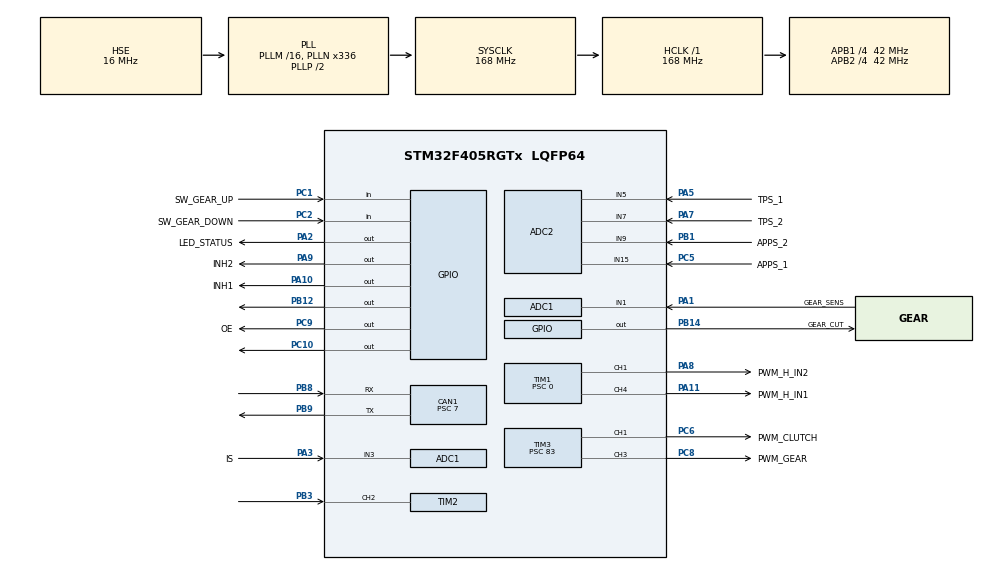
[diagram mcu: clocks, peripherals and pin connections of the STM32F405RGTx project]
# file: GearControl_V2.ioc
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ADC1.Channel-1\#ChannelRegularConversion=ADC_CHANNEL_1
ADC1.Channel-3\#ChannelRegularConversion=ADC_CHANNEL_3
ADC1.ClockPrescaler=ADC_CLOCK_SYNC_PCLK_DIV8
ADC1.ContinuousConvMode=ENABLE
ADC1.DMAContinuousRequests=ENABLE
ADC1.EnableAnalogWatchDog=false
ADC1.NbrOfConversion=2
ADC1.NbrOfConversionFlag=1
ADC1.Rank-3\#ChannelRegularConversion=2
ADC1.SamplingTime-1\#ChannelRegularConversion=ADC_SAMPLETIME_480CYCLES
ADC1.SamplingTime-3\#ChannelRegularConversion=ADC_SAMPLETIME_480CYCLES
ADC1.ScanConvMode=ENABLE
ADC1.master=1
ADC2.Channel-0\#ChannelRegularConversion=ADC_CHANNEL_5
ADC2.Channel-2\#ChannelRegularConversion=ADC_CHANNEL_7
ADC2.Channel-3\#ChannelRegularConversion=ADC_CHANNEL_9
ADC2.Channel-4\#ChannelRegularConversion=ADC_CHANNEL_15
ADC2.ClockPrescaler=ADC_CLOCK_SYNC_PCLK_DIV8
ADC2.ContinuousConvMode=ENABLE
ADC2.DMAContinuousRequests=ENABLE
ADC2.EnableAnalogWatchDog=false
ADC2.NbrOfConversion=4
ADC2.NbrOfConversionFlag=1
ADC2.Rank-0\#ChannelRegularConversion=1
ADC2.Rank-2\#ChannelRegularConversion=2
ADC2.Rank-3\#ChannelRegularConversion=3
ADC2.Rank-4\#ChannelRegularConversion=4
ADC2.SamplingTime-0\#ChannelRegularConversion=ADC_SAMPLETIME_480CYCLES
ADC2.SamplingTime-2\#ChannelRegularConversion=ADC_SAMPLETIME_480CYCLES
ADC2.SamplingTime-3\#ChannelRegularConversion=ADC_SAMPLETIME_480CYCLES
ADC2.SamplingTime-4\#ChannelRegularConversion=ADC_SAMPLETIME_480CYCLES
ADC2.ScanConvMode=ENABLE
CAN1.BS1=CAN_BS1_4TQ
CAN1.CalculateBaudRate=999999
CAN1.CalculateTimeBit=1000
CAN1.CalculateTimeQuantum=166.66666666666669
CAN1.Prescaler=7
CAN1.SJW=CAN_SJW_1TQ
Dma.ADC1.1.Direction=DMA_PERIPH_TO_MEMORY
Dma.ADC1.1.FIFOMode=DMA_FIFOMODE_DISABLE
Dma.ADC1.1.Instance=DMA2_Stream4
Dma.ADC1.1.MemDataAlignment=DMA_MDATAALIGN_HALFWORD
Dma.ADC1.1.MemInc=DMA_MINC_ENABLE
Dma.ADC1.1.Mode=DMA_CIRCULAR
Dma.ADC1.1.PeriphDataAlignment=DMA_PDATAALIGN_HALFWORD
Dma.ADC1.1.PeriphInc=DMA_PINC_DISABLE
Dma.ADC1.1.Priority=DMA_PRIORITY_VERY_HIGH
Dma.ADC2.0.Direction=DMA_PERIPH_TO_MEMORY
Dma.ADC2.0.FIFOMode=DMA_FIFOMODE_DISABLE
Dma.ADC2.0.Instance=DMA2_Stream2
Dma.ADC2.0.MemDataAlignment=DMA_MDATAALIGN_HALFWORD
Dma.ADC2.0.MemInc=DMA_MINC_ENABLE
Dma.ADC2.0.Mode=DMA_CIRCULAR
Dma.ADC2.0.PeriphDataAlignment=DMA_PDATAALIGN_HALFWORD
Dma.ADC2.0.PeriphInc=DMA_PINC_DISABLE
Dma.ADC2.0.Priority=DMA_PRIORITY_HIGH
Dma.Request0=ADC2
Dma.Request1=ADC1
IWDG.Prescaler=IWDG_PRESCALER_8
IWDG.Reload=11
Mcu.Family=STM32F4
Mcu.Name=STM32F405RGTx
Mcu.Package=LQFP64
NVIC.CAN1_RX0_IRQn=true\:0\:0\:false\:false\:true\:true\:true\:true
NVIC.DMA2_Stream2_IRQn=true\:0\:0\:false\:false\:true\:false\:true\:true
NVIC.DMA2_Stream4_IRQn=true\:0\:0\:false\:false\:true\:false\:true\:true
NVIC.PriorityGroup=NVIC_PRIORITYGROUP_4
PA1.GPIO_Label=GEAR_SENS
PA1.GPIO_Mode=GPIO_MODE_ANALOG
PA1.GPIO_PuPd=GPIO_NOPULL
PA1.Signal=ADCx_IN1
PA10.GPIO_Label=INH1
PA10.Signal=GPIO_Output
PA11.GPIO_Label=PWM_H_IN1
PA11.Signal=S_TIM1_CH4
PA13.Mode=Serial_Wire
PA13.Signal=SYS_JTMS-SWDIO
PA14.Mode=Serial_Wire
PA14.Signal=SYS_JTCK-SWCLK
PA2.GPIO_Label=LED_STATUS
PA2.Signal=GPIO_Output
PA3.GPIO_Label=IS
PA3.GPIO_Mode=GPIO_MODE_ANALOG
PA3.GPIO_PuPd=GPIO_NOPULL
PA3.Signal=ADCx_IN3
PA5.GPIO_Label=TPS_1
PA5.Signal=ADCx_IN5
PA7.GPIO_Label=TPS_2
PA7.Signal=ADCx_IN7
PA8.GPIO_Label=PWM_H_IN2
PA8.Signal=S_TIM1_CH1
PA9.GPIO_Label=INH2
PA9.Signal=GPIO_Output
PB1.GPIO_Label=APPS_2
PB1.Signal=ADCx_IN9
PB12.Signal=GPIO_Output
PB14.GPIO_Label=GEAR_CUT
PB14.PinState=GPIO_PIN_SET
PB14.Signal=GPIO_Output
PB3.Signal=S_TIM2_CH2
PB8.Mode=CAN_Activate
PB8.Signal=CAN1_RX
PB9.Mode=CAN_Activate
PB9.Signal=CAN1_TX
PC1.GPIO_Label=SW_GEAR_UP
PC1.Signal=GPIO_Input
PC10.PinState=GPIO_PIN_SET
PC10.Signal=GPIO_Output
PC2.GPIO_Label=SW_GEAR_DOWN
PC2.Signal=GPIO_Input
PC5.GPIO_Label=APPS_1
PC5.Signal=ADCx_IN15
PC6.GPIO_Label=PWM_CLUTCH
PC6.Signal=S_TIM3_CH1
PC8.GPIO_Label=PWM_GEAR
PC8.Signal=S_TIM3_CH3
PC9.GPIO_Label=OE
PC9.Signal=GPIO_Output
PH0-OSC_IN.Mode=HSE-External-Oscillator
PH0-OSC_IN.Signal=RCC_OSC_IN
PH1-OSC_OUT.Mode=HSE-External-Oscillator
PH1-OSC_OUT.Signal=RCC_OSC_OUT
ProjectManager.HeapSize=0x200
ProjectManager.StackSize=0x400
ProjectManager.TargetToolchain=STM32CubeIDE
RCC.48MHZClocksFreq_Value=48000000
RCC.AHBFreq_Value=168000000
RCC.APB1CLKDivider=RCC_HCLK_DIV4
RCC.APB1Freq_Value=42000000
RCC.APB1TimFreq_Value=84000000
RCC.APB2CLKDivider=RCC_HCLK_DIV4
RCC.APB2Freq_Value=42000000
RCC.APB2TimFreq_Value=84000000
RCC.CortexFreq_Value=168000000
RCC.HCLKFreq_Value=168000000
RCC.HSE_VALUE=16000000
RCC.HSI_VALUE=16000000
RCC.LSE_VALUE=32768
RCC.PLLN=336
RCC.PLLQ=7
RCC.PLLSourceVirtual=RCC_PLLSOURCE_HSE
RCC.SYSCLKFreq_VALUE=168000000
RCC.SYSCLKSource=RCC_SYSCLKSOURCE_PLLCLK
RCC.VCOOutputFreq_Value=336000000
SH.ADCx_IN1.0=ADC1_IN1,IN1
SH.ADCx_IN15.0=ADC2_IN15,IN15
SH.ADCx_IN3.0=ADC1_IN3,IN3
SH.ADCx_IN5.0=ADC2_IN5,IN5
SH.ADCx_IN7.0=ADC2_IN7,IN7
SH.ADCx_IN9.0=ADC2_IN9,IN9
SH.S_TIM1_CH1.0=TIM1_CH1,PWM Generation1 CH1
SH.S_TIM1_CH4.0=TIM1_CH4,PWM Generation4 CH4
SH.S_TIM2_CH2.0=TIM2_CH2,Input_Capture2_from_TI2
SH.S_TIM3_CH1.0=TIM3_CH1,PWM Generation1 CH1
SH.S_TIM3_CH3.0=TIM3_CH3,PWM Generation3 CH3
TIM1.Channel-PWM\ Generation1\ CH1=TIM_CHANNEL_1
TIM1.Channel-PWM\ Generation4\ CH4=TIM_CHANNEL_4
TIM1.OCFastMode_PWM-PWM\ Generation1\ CH1=TIM_OCFAST_DISABLE
TIM1.OCFastMode_PWM-PWM\ Generation4\ CH4=TIM_OCFAST_DISABLE
TIM1.Period=4639
TIM1.Prescaler=0
TIM2.AutoReloadPreload=TIM_AUTORELOAD_PRELOAD_DISABLE
TIM2.Channel-Input_Capture2_from_TI2=TIM_CHANNEL_2
TIM2.Period=167
TIM3.Channel-PWM\ Generation1\ CH1=TIM_CHANNEL_1
TIM3.Channel-PWM\ Generation3\ CH3=TIM_CHANNEL_3
TIM3.OCFastMode_PWM-PWM\ Generation1\ CH1=TIM_OCFAST_DISABLE
TIM3.OCFastMode_PWM-PWM\ Generation3\ CH3=TIM_OCFAST_DISABLE
TIM3.Period=19999
TIM3.Prescaler=83
VP_IWDG_VS_IWDG.Mode=IWDG_Activate
board=custom

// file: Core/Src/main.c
/* USER CODE BEGIN Header */
/**
  ******************************************************************************
  * @file           : main.c
  * @brief          : Main program body
  ******************************************************************************
  * @attention
  *
  * <h2><center>&copy; Copyright (c) 2021 STMicroelectronics.
  * All rights reserved.</center></h2>
  *
  * This software component is licensed by ST under Ultimate Liberty license
  * SLA0044, the "License"; You may not use this file except in compliance with
  * the License. You may obtain a copy of the License at:
  *                             www.st.com/SLA0044
  *
  ******************************************************************************
  */
/* USER CODE END Header */
#include "main.h"

/* USER CODE BEGIN Includes */

#include "stm32f4xx_it.h"
#include "DefineConfig.h"

/* Application */
#include "DBW.h"
#include "GearControl.h"
#include "GearControlCAN.h"
#include "ClutchControl.h"
#include "ShiftRevMatch.h"
#include "GearSensor.h"
#include "Servo.h"
/* Middleware */
#include "MicroSwitch.h"
/* Platform Low */
#include "Watchdog.h"
#include "Adc.h"
#include "CAN.h"
#include "LED.h"
#include "Scheduler.h"
#include "SwTimer.h"
/* USER CODE END Includes */

/* USER CODE BEGIN PM */
typedef union {
	uint64_t errTotal;
	struct {
		uint64_t adcInitErr : 1;        // ADC module init failure
		uint64_t irqInitErr : 1;        // IRQ (Interrupts) module init failure
		uint64_t dbwInitErr : 1;        // DBW module init failure
		uint64_t schedulerInitErr : 1;  // Scheduler module init failure
		uint64_t canInitErr : 1;        // CAN Bus init failure
		uint64_t gearSensInitErr : 1;   // Gear Sensor init failure
		uint64_t gearCtrlInitErr : 1;   // Gear Control init failure
		uint64_t clutchCtrlInitErr : 1; // Clutch Control init failure
		uint64_t halErr : 1;            // HAL generic error
	};
} ErrorFlags;

static ErrorFlags errorFlags = {
	.errTotal = 0U
};

/* USER CODE END PM */

ADC_HandleTypeDef hadc1;
ADC_HandleTypeDef hadc2;
DMA_HandleTypeDef hdma_adc1;
DMA_HandleTypeDef hdma_adc2;

CAN_HandleTypeDef hcan1;

IWDG_HandleTypeDef hiwdg;

TIM_HandleTypeDef htim1;
TIM_HandleTypeDef htim2;
TIM_HandleTypeDef htim3;

void SystemClock_Config(void);
static void MX_GPIO_Init(void);
static void MX_DMA_Init(void);
static void MX_CAN1_Init(void);
static void MX_TIM1_Init(void);
static void MX_ADC1_Init(void);
static void MX_TIM3_Init(void);
static void MX_ADC2_Init(void);
static void MX_TIM2_Init(void);
static void MX_IWDG_Init(void);

/* USER CODE BEGIN 0 */
static void PeriodicTask_1ms(void)
{
	/* Drive-By-Wire process */
	DBW_Process();
	/* MicroSwitch process */
	MicroSwitch_Process();
	/* Clutch Control process */
	ClutchControl_Process();
	/* Gear Sensor reading process */
	GearSensor_Process();
	/* Gear Control process */
	GearControl_Process();
	/* Shift rev matching process */
	ShiftRevMatch_Process();
	/* Tick SW Timer */
	SwTimerTick1ms();
}

static void PeriodicTask_10ms(void)
{
	/* Software Timers Process */
	SwTimerExecute();
	/* Gear Control CAN process */
	GearControlCAN_Process();
	/* CAN Bus Tx Callback */
	CAN_TxCallback();
}

static void PeriodicTask_500ms(void)
{
	/* LED Process */
	LED_Process();
}

/* Scheduler Tasks Configuration */
static SchedulerType schedule[N_PROCESS] = {
	{
		/* 1ms task */
		.handler = PeriodicTask_1ms,
		.period = 1U
	},
	{
		/* 10ms task */
		.handler = PeriodicTask_10ms,
		.period = 10U
	},
	{
		/* 500ms task */
		.handler = PeriodicTask_500ms,
		.period = 500U
	}
};

/* USER CODE END 0 */

int main(void)
{

  /* MCU Configuration--------------------------------------------------------*/

  /* Reset of all peripherals, Initializes the Flash interface and the Systick. */

HAL_Init();

  /* Configure the system clock */
  SystemClock_Config();

  /* Initialize all configured peripherals */
  MX_GPIO_Init();
  MX_DMA_Init();
  MX_CAN1_Init();
  MX_TIM1_Init();
  MX_ADC1_Init();
  MX_TIM3_Init();
  MX_ADC2_Init();
  MX_TIM2_Init();
  MX_IWDG_Init();
  /* USER CODE BEGIN 2 */

  /* Enable watchdog first - no return */
  Watchdog_Init(&hiwdg);

  /* Indicate reset with LED blinking */
  LED_indicateResetWithDelay(INDICATE_RESET_MS);
/* -------------------------------------------- */
  if (!errorFlags.halErr) {
	  /* Initialize CAN Bus */
	  if (CAN_Init(&hcan1) != ERROR_OK) {
		  errorFlags.canInitErr = TRUE;
	  }

	  /* Initialize ADC 1 */
	  if (ADC_Init(&hadc1, ADC_1_HANDLE, ADC_1_CHANNELS_COUNT) != ERROR_OK) {
		  errorFlags.adcInitErr = TRUE;
	  }

	  /* Initialize ADC 2 */
	  if (ADC_Init(&hadc2, ADC_2_HANDLE, ADC_2_CHANNELS_COUNT) != ERROR_OK) {
		  errorFlags.adcInitErr = TRUE;
	  }

	  /* Initialize Interrupts */
	  if (IRQ_Init() != ERROR_OK) {
		  errorFlags.irqInitErr = TRUE;
	  }

	  /* Initialize Gear Sensor module */
	  if (GearSensor_Init() != ERROR_OK) {
		  errorFlags.gearSensInitErr = TRUE;
	  }

	  /* Initialize Gear Control module */
	  if (GearControl_Init(&htim3) != ERROR_OK) {
		  errorFlags.gearCtrlInitErr = TRUE;
	  }

	  /* Initialize Drive-By-Wire */
	  if (DBW_Init() != ERROR_OK) {
		  errorFlags.dbwInitErr = TRUE;
	  }

	  /* Initialize Clutch Control module */
	  if (ClutchControl_Init(&htim3) != ERROR_OK) {
		  errorFlags.clutchCtrlInitErr = TRUE;
	  }

	  if (errorFlags.errTotal == ERROR_OK) {
		  /* Initialize Scheduler */
		  if (SchedulerInit(schedule, &htim2) == ERROR_OK) {
			  /* Run scheduler */
			  SchedulerRun();
		  } else {
			  errorFlags.schedulerInitErr = TRUE;
		  }
	  }
  }

  /* Should never reach here */
  /* USER CODE END 2 */

  /* Infinite loop */
  while (1)
  {

  }
}

void SystemClock_Config(void)
{
  RCC_OscInitTypeDef RCC_OscInitStruct = {0};
  RCC_ClkInitTypeDef RCC_ClkInitStruct = {0};

  /** Configure the main internal regulator output voltage
  */
  __HAL_RCC_PWR_CLK_ENABLE();
  __HAL_PWR_VOLTAGESCALING_CONFIG(PWR_REGULATOR_VOLTAGE_SCALE1);

  /** Initializes the RCC Oscillators according to the specified parameters
  * in the RCC_OscInitTypeDef structure.
  */
  RCC_OscInitStruct.OscillatorType = RCC_OSCILLATORTYPE_LSI|RCC_OSCILLATORTYPE_HSE;
  RCC_OscInitStruct.HSEState = RCC_HSE_ON;
  RCC_OscInitStruct.LSIState = RCC_LSI_ON;
  RCC_OscInitStruct.PLL.PLLState = RCC_PLL_ON;
  RCC_OscInitStruct.PLL.PLLSource = RCC_PLLSOURCE_HSE;
  RCC_OscInitStruct.PLL.PLLM = 16;
  RCC_OscInitStruct.PLL.PLLN = 336;
  RCC_OscInitStruct.PLL.PLLP = RCC_PLLP_DIV2;
  RCC_OscInitStruct.PLL.PLLQ = 7;
  if (HAL_RCC_OscConfig(&RCC_OscInitStruct) != HAL_OK)
  {
    Error_Handler();
  }

  /** Initializes the CPU, AHB and APB buses clocks
  */
  RCC_ClkInitStruct.ClockType = RCC_CLOCKTYPE_HCLK|RCC_CLOCKTYPE_SYSCLK
                              |RCC_CLOCKTYPE_PCLK1|RCC_CLOCKTYPE_PCLK2;
  RCC_ClkInitStruct.SYSCLKSource = RCC_SYSCLKSOURCE_PLLCLK;
  RCC_ClkInitStruct.AHBCLKDivider = RCC_SYSCLK_DIV1;
  RCC_ClkInitStruct.APB1CLKDivider = RCC_HCLK_DIV4;
  RCC_ClkInitStruct.APB2CLKDivider = RCC_HCLK_DIV4;

  if (HAL_RCC_ClockConfig(&RCC_ClkInitStruct, FLASH_LATENCY_5) != HAL_OK)
  {
    Error_Handler();
  }
}

static void MX_ADC1_Init(void)
{

  ADC_ChannelConfTypeDef sConfig = {0};

  /** Configure the global features of the ADC (Clock, Resolution, Data Alignment and number of conversion)
  */
  hadc1.Instance = ADC1;
  hadc1.Init.ClockPrescaler = ADC_CLOCK_SYNC_PCLK_DIV8;
  hadc1.Init.Resolution = ADC_RESOLUTION_12B;
  hadc1.Init.ScanConvMode = ENABLE;
  hadc1.Init.ContinuousConvMode = ENABLE;
  hadc1.Init.DiscontinuousConvMode = DISABLE;
  hadc1.Init.ExternalTrigConvEdge = ADC_EXTERNALTRIGCONVEDGE_NONE;
  hadc1.Init.ExternalTrigConv = ADC_SOFTWARE_START;
  hadc1.Init.DataAlign = ADC_DATAALIGN_RIGHT;
  hadc1.Init.NbrOfConversion = 2;
  hadc1.Init.DMAContinuousRequests = ENABLE;
  hadc1.Init.EOCSelection = ADC_EOC_SINGLE_CONV;
  if (HAL_ADC_Init(&hadc1) != HAL_OK)
  {
    Error_Handler();
  }

  /** Configure for the selected ADC regular channel its corresponding rank in the sequencer and its sample time.
  */
  sConfig.Channel = ADC_CHANNEL_1;
  sConfig.Rank = 1;
  sConfig.SamplingTime = ADC_SAMPLETIME_480CYCLES;
  if (HAL_ADC_ConfigChannel(&hadc1, &sConfig) != HAL_OK)
  {
    Error_Handler();
  }

  /** Configure for the selected ADC regular channel its corresponding rank in the sequencer and its sample time.
  */
  sConfig.Channel = ADC_CHANNEL_3;
  sConfig.Rank = 2;
  if (HAL_ADC_ConfigChannel(&hadc1, &sConfig) != HAL_OK)
  {
    Error_Handler();
  }

}

static void MX_ADC2_Init(void)
{

  ADC_ChannelConfTypeDef sConfig = {0};

  /** Configure the global features of the ADC (Clock, Resolution, Data Alignment and number of conversion)
  */
  hadc2.Instance = ADC2;
  hadc2.Init.ClockPrescaler = ADC_CLOCK_SYNC_PCLK_DIV8;
  hadc2.Init.Resolution = ADC_RESOLUTION_12B;
  hadc2.Init.ScanConvMode = ENABLE;
  hadc2.Init.ContinuousConvMode = ENABLE;
  hadc2.Init.DiscontinuousConvMode = DISABLE;
  hadc2.Init.ExternalTrigConvEdge = ADC_EXTERNALTRIGCONVEDGE_NONE;
  hadc2.Init.ExternalTrigConv = ADC_SOFTWARE_START;
  hadc2.Init.DataAlign = ADC_DATAALIGN_RIGHT;
  hadc2.Init.NbrOfConversion = 4;
  hadc2.Init.DMAContinuousRequests = ENABLE;
  hadc2.Init.EOCSelection = ADC_EOC_SINGLE_CONV;
  if (HAL_ADC_Init(&hadc2) != HAL_OK)
  {
    Error_Handler();
  }

  /** Configure for the selected ADC regular channel its corresponding rank in the sequencer and its sample time.
  */
  sConfig.Channel = ADC_CHANNEL_5;
  sConfig.Rank = 1;
  sConfig.SamplingTime = ADC_SAMPLETIME_480CYCLES;
  if (HAL_ADC_ConfigChannel(&hadc2, &sConfig) != HAL_OK)
  {
    Error_Handler();
  }

  /** Configure for the selected ADC regular channel its corresponding rank in the sequencer and its sample time.
  */
  sConfig.Channel = ADC_CHANNEL_7;
  sConfig.Rank = 2;
  if (HAL_ADC_ConfigChannel(&hadc2, &sConfig) != HAL_OK)
  {
    Error_Handler();
  }

  /** Configure for the selected ADC regular channel its corresponding rank in the sequencer and its sample time.
  */
  sConfig.Channel = ADC_CHANNEL_9;
  sConfig.Rank = 3;
  if (HAL_ADC_ConfigChannel(&hadc2, &sConfig) != HAL_OK)
  {
    Error_Handler();
  }

  /** Configure for the selected ADC regular channel its corresponding rank in the sequencer and its sample time.
  */
  sConfig.Channel = ADC_CHANNEL_15;
  sConfig.Rank = 4;
  if (HAL_ADC_ConfigChannel(&hadc2, &sConfig) != HAL_OK)
  {
    Error_Handler();
  }

}

static void MX_CAN1_Init(void)
{

  hcan1.Instance = CAN1;
  hcan1.Init.Prescaler = 7;
  hcan1.Init.Mode = CAN_MODE_NORMAL;
  hcan1.Init.SyncJumpWidth = CAN_SJW_1TQ;
  hcan1.Init.TimeSeg1 = CAN_BS1_4TQ;
  hcan1.Init.TimeSeg2 = CAN_BS2_1TQ;
  hcan1.Init.TimeTriggeredMode = DISABLE;
  hcan1.Init.AutoBusOff = DISABLE;
  hcan1.Init.AutoWakeUp = DISABLE;
  hcan1.Init.AutoRetransmission = DISABLE;
  hcan1.Init.ReceiveFifoLocked = DISABLE;
  hcan1.Init.TransmitFifoPriority = DISABLE;
  if (HAL_CAN_Init(&hcan1) != HAL_OK)
  {
    Error_Handler();
  }

}

static void MX_IWDG_Init(void)
{

  /* USER CODE BEGIN IWDG_Init 0 */
#if CONFIG_ENABLE_SCHEDULER_WATCHDOG
  /* USER CODE END IWDG_Init 0 */

  hiwdg.Instance = IWDG;
  hiwdg.Init.Prescaler = IWDG_PRESCALER_8;
  hiwdg.Init.Reload = 11;
  if (HAL_IWDG_Init(&hiwdg) != HAL_OK)
  {
    Error_Handler();
  }
  /* USER CODE BEGIN IWDG_Init 2 */
#endif // CONFIG_ENABLE_SCHEDULER_WATCHDOG
  /* USER CODE END IWDG_Init 2 */

}

static void MX_TIM1_Init(void)
{

  TIM_MasterConfigTypeDef sMasterConfig = {0};
  TIM_OC_InitTypeDef sConfigOC = {0};
  TIM_BreakDeadTimeConfigTypeDef sBreakDeadTimeConfig = {0};

  htim1.Instance = TIM1;
  htim1.Init.Prescaler = 0;
  htim1.Init.CounterMode = TIM_COUNTERMODE_UP;
  htim1.Init.Period = 4639;
  htim1.Init.ClockDivision = TIM_CLOCKDIVISION_DIV1;
  htim1.Init.RepetitionCounter = 0;
  htim1.Init.AutoReloadPreload = TIM_AUTORELOAD_PRELOAD_DISABLE;
  if (HAL_TIM_PWM_Init(&htim1) != HAL_OK)
  {
    Error_Handler();
  }
  sMasterConfig.MasterOutputTrigger = TIM_TRGO_RESET;
  sMasterConfig.MasterSlaveMode = TIM_MASTERSLAVEMODE_DISABLE;
  if (HAL_TIMEx_MasterConfigSynchronization(&htim1, &sMasterConfig) != HAL_OK)
  {
    Error_Handler();
  }
  sConfigOC.OCMode = TIM_OCMODE_PWM1;
  sConfigOC.Pulse = 0;
  sConfigOC.OCPolarity = TIM_OCPOLARITY_HIGH;
  sConfigOC.OCNPolarity = TIM_OCNPOLARITY_HIGH;
  sConfigOC.OCFastMode = TIM_OCFAST_DISABLE;
  sConfigOC.OCIdleState = TIM_OCIDLESTATE_RESET;
  sConfigOC.OCNIdleState = TIM_OCNIDLESTATE_RESET;
  if (HAL_TIM_PWM_ConfigChannel(&htim1, &sConfigOC, TIM_CHANNEL_1) != HAL_OK)
  {
    Error_Handler();
  }
  if (HAL_TIM_PWM_ConfigChannel(&htim1, &sConfigOC, TIM_CHANNEL_4) != HAL_OK)
  {
    Error_Handler();
  }
  sBreakDeadTimeConfig.OffStateRunMode = TIM_OSSR_DISABLE;
  sBreakDeadTimeConfig.OffStateIDLEMode = TIM_OSSI_DISABLE;
  sBreakDeadTimeConfig.LockLevel = TIM_LOCKLEVEL_OFF;
  sBreakDeadTimeConfig.DeadTime = 0;
  sBreakDeadTimeConfig.BreakState = TIM_BREAK_DISABLE;
  sBreakDeadTimeConfig.BreakPolarity = TIM_BREAKPOLARITY_HIGH;
  sBreakDeadTimeConfig.AutomaticOutput = TIM_AUTOMATICOUTPUT_DISABLE;
  if (HAL_TIMEx_ConfigBreakDeadTime(&htim1, &sBreakDeadTimeConfig) != HAL_OK)
  {
    Error_Handler();
  }
  HAL_TIM_MspPostInit(&htim1);

}

static void MX_TIM2_Init(void)
{

  TIM_MasterConfigTypeDef sMasterConfig = {0};
  TIM_IC_InitTypeDef sConfigIC = {0};

  /* USER CODE BEGIN TIM2_Init 1 */
  // Timer used for scheduler frame measurement
  // prescaler - 84Mhz / 840 = 100 000 Hz
  // period - measure ticks in 1ms - 100 000 Hz / 1000 Hz = 100 ticks per ms
  /* USER CODE END TIM2_Init 1 */
  htim2.Instance = TIM2;
  htim2.Init.Prescaler = 0;
  htim2.Init.CounterMode = TIM_COUNTERMODE_UP;
  htim2.Init.Period = 167;
  htim2.Init.ClockDivision = TIM_CLOCKDIVISION_DIV1;
  htim2.Init.AutoReloadPreload = TIM_AUTORELOAD_PRELOAD_DISABLE;
  if (HAL_TIM_IC_Init(&htim2) != HAL_OK)
  {
    Error_Handler();
  }
  sMasterConfig.MasterOutputTrigger = TIM_TRGO_RESET;
  sMasterConfig.MasterSlaveMode = TIM_MASTERSLAVEMODE_DISABLE;
  if (HAL_TIMEx_MasterConfigSynchronization(&htim2, &sMasterConfig) != HAL_OK)
  {
    Error_Handler();
  }
  sConfigIC.ICPolarity = TIM_INPUTCHANNELPOLARITY_RISING;
  sConfigIC.ICSelection = TIM_ICSELECTION_DIRECTTI;
  sConfigIC.ICPrescaler = TIM_ICPSC_DIV1;
  sConfigIC.ICFilter = 0;
  if (HAL_TIM_IC_ConfigChannel(&htim2, &sConfigIC, TIM_CHANNEL_2) != HAL_OK)
  {
    Error_Handler();
  }

}

static void MX_TIM3_Init(void)
{

  TIM_MasterConfigTypeDef sMasterConfig = {0};
  TIM_OC_InitTypeDef sConfigOC = {0};

  htim3.Instance = TIM3;
  htim3.Init.Prescaler = 83;
  htim3.Init.CounterMode = TIM_COUNTERMODE_UP;
  htim3.Init.Period = 19999;
  htim3.Init.ClockDivision = TIM_CLOCKDIVISION_DIV1;
  htim3.Init.AutoReloadPreload = TIM_AUTORELOAD_PRELOAD_DISABLE;
  if (HAL_TIM_PWM_Init(&htim3) != HAL_OK)
  {
    Error_Handler();
  }
  sMasterConfig.MasterOutputTrigger = TIM_TRGO_RESET;
  sMasterConfig.MasterSlaveMode = TIM_MASTERSLAVEMODE_DISABLE;
  if (HAL_TIMEx_MasterConfigSynchronization(&htim3, &sMasterConfig) != HAL_OK)
  {
    Error_Handler();
  }
  sConfigOC.OCMode = TIM_OCMODE_PWM1;
  sConfigOC.Pulse = 0;
  sConfigOC.OCPolarity = TIM_OCPOLARITY_HIGH;
  sConfigOC.OCFastMode = TIM_OCFAST_DISABLE;
  if (HAL_TIM_PWM_ConfigChannel(&htim3, &sConfigOC, TIM_CHANNEL_1) != HAL_OK)
  {
    Error_Handler();
  }
  if (HAL_TIM_PWM_ConfigChannel(&htim3, &sConfigOC, TIM_CHANNEL_3) != HAL_OK)
  {
    Error_Handler();
  }
  HAL_TIM_MspPostInit(&htim3);

}

static void MX_DMA_Init(void)
{

  /* DMA controller clock enable */
  __HAL_RCC_DMA2_CLK_ENABLE();

  /* DMA interrupt init */
  /* DMA2_Stream2_IRQn interrupt configuration */
  HAL_NVIC_SetPriority(DMA2_Stream2_IRQn, 0, 0);
  HAL_NVIC_EnableIRQ(DMA2_Stream2_IRQn);
  /* DMA2_Stream4_IRQn interrupt configuration */
  HAL_NVIC_SetPriority(DMA2_Stream4_IRQn, 0, 0);
  HAL_NVIC_EnableIRQ(DMA2_Stream4_IRQn);

}

static void MX_GPIO_Init(void)
{
  GPIO_InitTypeDef GPIO_InitStruct = {0};

  /* GPIO Ports Clock Enable */
  __HAL_RCC_GPIOH_CLK_ENABLE();
  __HAL_RCC_GPIOC_CLK_ENABLE();
  __HAL_RCC_GPIOA_CLK_ENABLE();
  __HAL_RCC_GPIOB_CLK_ENABLE();

  /*Configure GPIO pin Output Level */
  HAL_GPIO_WritePin(GPIOA, LED_STATUS_Pin|INH2_Pin|INH1_Pin, GPIO_PIN_RESET);

  /*Configure GPIO pin Output Level */
  HAL_GPIO_WritePin(GPIOB, GPIO_PIN_12, GPIO_PIN_RESET);

  /*Configure GPIO pin Output Level */
  HAL_GPIO_WritePin(GEAR_CUT_GPIO_Port, GEAR_CUT_Pin, GPIO_PIN_SET);

  /*Configure GPIO pin Output Level */
  HAL_GPIO_WritePin(OE_GPIO_Port, OE_Pin, GPIO_PIN_RESET);

  /*Configure GPIO pin Output Level */
  HAL_GPIO_WritePin(GPIOC, GPIO_PIN_10, GPIO_PIN_SET);

  /*Configure GPIO pins : SW_GEAR_UP_Pin SW_GEAR_DOWN_Pin */
  GPIO_InitStruct.Pin = SW_GEAR_UP_Pin|SW_GEAR_DOWN_Pin;
  GPIO_InitStruct.Mode = GPIO_MODE_INPUT;
  GPIO_InitStruct.Pull = GPIO_NOPULL;
  HAL_GPIO_Init(GPIOC, &GPIO_InitStruct);

  /*Configure GPIO pins : LED_STATUS_Pin INH2_Pin INH1_Pin */
  GPIO_InitStruct.Pin = LED_STATUS_Pin|INH2_Pin|INH1_Pin;
  GPIO_InitStruct.Mode = GPIO_MODE_OUTPUT_PP;
  GPIO_InitStruct.Pull = GPIO_NOPULL;
  GPIO_InitStruct.Speed = GPIO_SPEED_FREQ_LOW;
  HAL_GPIO_Init(GPIOA, &GPIO_InitStruct);

  /*Configure GPIO pins : PB12 GEAR_CUT_Pin */
  GPIO_InitStruct.Pin = GPIO_PIN_12|GEAR_CUT_Pin;
  GPIO_InitStruct.Mode = GPIO_MODE_OUTPUT_PP;
  GPIO_InitStruct.Pull = GPIO_NOPULL;
  GPIO_InitStruct.Speed = GPIO_SPEED_FREQ_LOW;
  HAL_GPIO_Init(GPIOB, &GPIO_InitStruct);

  /*Configure GPIO pins : OE_Pin PC10 */
  GPIO_InitStruct.Pin = OE_Pin|GPIO_PIN_10;
  GPIO_InitStruct.Mode = GPIO_MODE_OUTPUT_PP;
  GPIO_InitStruct.Pull = GPIO_NOPULL;
  GPIO_InitStruct.Speed = GPIO_SPEED_FREQ_LOW;
  HAL_GPIO_Init(GPIOC, &GPIO_InitStruct);

}

void Error_Handler(void)
{
  /* USER CODE BEGIN Error_Handler_Debug */
  /* User can add his own implementation to report the HAL error return state */
	errorFlags.halErr = TRUE;
  /* USER CODE END Error_Handler_Debug */
}
